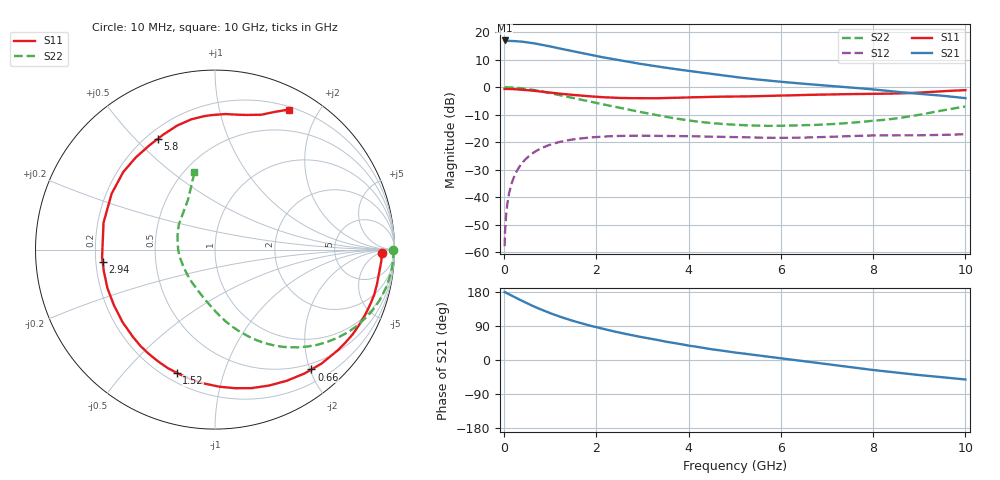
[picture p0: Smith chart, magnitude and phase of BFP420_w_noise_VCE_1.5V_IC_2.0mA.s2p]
! Infineon Technologies  Discrete & RF Semiconductors
! BFP420
! VCE =  1.5 V,  IC =  2.0 mA
! Common Emitter S-Parameters:  Jan 2016
# GHz  S  MA  R  50
!  f  S11  S21  S12  S22
! GHz  MAG  ANG  MAG  ANG  MAG  ANG  MAG  ANG
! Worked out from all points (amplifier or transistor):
!   233 points, 10 MHz to 10 GHz, reference 50 ohm
!   highest |S21| = 17.0 dB at 10 MHz (marker M1)
!   |S21| within 3 dB of that: start of sweep to 1.23 GHz
!   unconditionally stable (mu >= 1): 3.885 GHz to end of sweep
!   at 200 MHz: K = 0.03, MSG = 25.0 dB, |S12| = -33.2 dB
!   at 1.74 GHz: K = 0.38, MSG = 15.3 dB, |S12| = -18.4 dB
!   at 10 GHz: K = 1.21, MAG = 3.8 dB, |S12| = -17.1 dB
!   lowest NFmin = 0.53 dB at 900 MHz
!   S11 on the Smith chart (normalised r, x): 10 MHz: 26, -7; 660 MHz: 0.40, -2.02; 1.52 GHz: 0.25, -0.71; 2.94 GHz: 0.23, -0.05; 5.8 GHz: 0.24, +0.58; 10 GHz: 0.23, +1.64
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0.01  0.9293 -1.1  7.041 179.4  0.0013 101.1  0.9931 0.0
0.02  0.9292 -1.6  6.844 179.1  0.0024 85.1  0.9945 -0.9
0.06  0.9274 -4.8  6.893 176.3  0.0066 87.9  0.9941 -2.9
0.16  0.9223 -12.7  6.905 170.1  0.0177 82.6  0.9879 -7.8
0.3  0.9117 -23.7  6.798 161.4  0.0327 76.4  0.9699 -14.4
0.45  0.8928 -35.4  6.601 152.5  0.0479 69.5  0.9399 -21.2
0.66  0.8569 -51.2  6.212 140.6  0.0666 60.4  0.8831 -30.2
0.8  0.8329 -61.4  5.913 133.2  0.0775 55.0  0.8416 -35.7
1  0.798 -75.3  5.482 123.5  0.0906 47.8  0.7793 -42.9
1.28  0.7513 -93.1  4.884 111.4  0.1047 39.0  0.6948 -51.6
1.52  0.7189 -107.2  4.431 102.3  0.1135 32.5  0.6284 -58.2
1.68  0.7001 -116.2  4.158 96.6  0.1181 28.6  0.5881 -62.1
2.2  0.6547 -142.0  3.413 80.5  0.1277 17.9  0.4766 -73.3
2.6  0.6367 -160.2  2.97 69.6  0.1308 11.0  0.4057 -81.4
2.94  0.6298 -173.7  2.66 61.4  0.1314 6.3  0.3561 -87.8
3.4  0.6326 169.9  2.32 51.1  0.1305 0.9  0.3007 -97.3
4.4  0.6643 142.1  1.775 30.4  0.1268 -7.4  0.2271 -122.4
5.1  0.6778 128.9  1.498 18.4  0.123 -10.8  0.2057 -140.4
5.8  0.6946 117.3  1.298 7.6  0.1204 -12.6  0.1982 -159.2
6.8  0.7304 102.9  1.1 -7.8  0.1234 -14.1  0.2073 174.9
8.4  0.764 79.4  0.842 -32.0  0.1332 -21.3  0.2643 133.7
10  0.8832 62.0  0.632 -51.4  0.1398 -25.9  0.445 104.9
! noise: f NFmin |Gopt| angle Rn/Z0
0.9  0.53  0.47  33  0.22
1.8  1.03  0.29  77  0.17
2.4  1.13  0.31  102  0.16
3  1.32  0.31  136  0.12
4  1.57  0.37  -168  0.1
5  1.96  0.42  -129  0.28
6  2.72  0.51  -111  0.37
